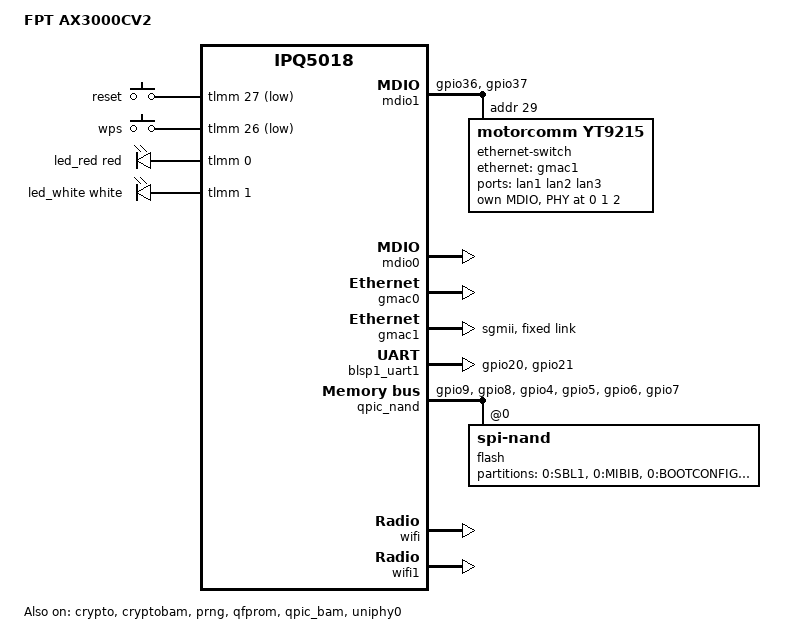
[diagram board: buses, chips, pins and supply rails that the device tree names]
// SPDX-License-Identifier: GPL-2.0-or-later

/dts-v1/;

#include "ipq5018.dtsi"
#include "ipq5018-ess.dtsi"
#include "ipq5018-nss.dtsi"
#include "ipq5018-qcn6122.dtsi"

#include <dt-bindings/gpio/gpio.h>
#include <dt-bindings/input/input.h>
#include <dt-bindings/leds/common.h>

/ {

	model = "FPT AX3000CV2";
	compatible = "fpt,wf810df", "fpt,ax3000cv2", "actiontec,wf810df",
		     "qcom,ipq5018";

	reserved-memory {
		q6_region_qcn6122_1: q6-region-qcn6122-1@4d200000 {
			reg = <0x0 0x4d200000 0x0 0xd00000>;
			no-map;
		};

		m3_dump_qcn6122_1: m3-dump-qcn6122-1@4df00000 {
			reg = <0x0 0x4df00000 0x0 0x100000>;
			no-map;
		};
	};

	aliases {
		serial0 = &blsp1_uart1;
		label-mac-device = &gmac0;

		ethernet0 = &gmac0;
		ethernet1 = &gmac1;

		led-boot = &led_red;
		led-failsafe = &led_red;
		led-running = &led_white;
		led-upgrade = &led_red;
	};

	chosen {
		bootargs-append = " root=/dev/ubiblock0_1 coherent_pool=2M";
		stdout-path = "serial0:115200n8";
	};

	keys {
		compatible = "gpio-keys";
		pinctrl-0 = <&button_pins>;
		pinctrl-names = "default";

		reset {
			label = "reset";
			gpios = <&tlmm 27 GPIO_ACTIVE_LOW>;
			linux,code = <KEY_RESTART>;
			linux,input-type = <EV_KEY>;
			debounce-interval = <60>;
		};

		wps {
			label = "wps";
			gpios = <&tlmm 26 GPIO_ACTIVE_LOW>;
			linux,code = <KEY_WPS_BUTTON>;
			linux,input-type = <EV_KEY>;
			debounce-interval = <60>;
		};
	};

	leds {
		compatible = "gpio-leds";
		pinctrl-0 = <&leds_pins>;
		pinctrl-names = "default";

		led_red: led-red {
			color = <LED_COLOR_ID_RED>;
			function = LED_FUNCTION_POWER;
			gpios = <&tlmm 0 GPIO_ACTIVE_HIGH>;
		};

		led_white: led-white {
			color = <LED_COLOR_ID_WHITE>;
			function = LED_FUNCTION_STATUS;
			gpios = <&tlmm 1 GPIO_ACTIVE_HIGH>;
		};
	};

};

&mdio1 {
	pinctrl-0 = <&mdio1_pins>;
	pinctrl-names = "default";
	status = "okay";

	ethernet-switch@1d {
		compatible = "motorcomm,yt9215";
		reg = <0x1d>;
		yt,extif = <0x0a>;
		motorcomm,skip-hw-reset;

			mdio {
				#address-cells = <1>;
				#size-cells = <0>;

			sw_phy0: phy@0 {
				reg = <0>;
			};

			sw_phy1: phy@1 {
				reg = <1>;
			};

				sw_phy2: phy@2 {
					reg = <2>;
				};

			};

		ports {
			#address-cells = <1>;
			#size-cells = <0>;

			port@0 {
				reg = <0>;
				label = "lan1";
				phy-mode = "internal";
				phy-handle = <&sw_phy0>;
			};

			port@1 {
				reg = <1>;
				label = "lan2";
				phy-mode = "internal";
				phy-handle = <&sw_phy1>;
			};

				port@2 {
					reg = <2>;
					label = "lan3";
					phy-mode = "internal";
					phy-handle = <&sw_phy2>;
				};

			/* Current upstream yt921x support models the CPU link on port 8. */
			port@8 {
				reg = <8>;
				phy-mode = "sgmii";
				ethernet = <&gmac1>;

				fixed-link {
					speed = <1000>;
					full-duplex;
					pause;
					asym-pause;
				};
			};
		};
	};
};

&sleep_clk {
	clock-frequency = <32000>;
};

&xo_board_clk {
	clock-div = <4>;
	clock-mult = <1>;
};



&mdio0 {
	status = "okay";
};

/* WAN is an external RJ45 link: retain the PHY default MDAC/EDAC values. */

&gmac0 {
	status = "okay";
	label = "wan";

	nvmem-cells = <&macaddr_appsblenv_ethaddr 0>;
	nvmem-cell-names = "mac-address";
};

&gmac1 {
	status = "okay";
	phy-mode = "sgmii";
	label = "lan";

	nvmem-cells = <&macaddr_appsblenv_ethaddr 1>;
	nvmem-cell-names = "mac-address";

	fixed-link {
		speed = <1000>;
		full-duplex;
		pause;
		asym-pause;
	};
};

&blsp1_uart1 {
	pinctrl-0 = <&serial_0_pins>;
	pinctrl-names = "default";
	status = "okay";
};

&crypto {
	status = "okay";
};

&cryptobam {
	status = "okay";
};

&prng {
	status = "okay";
};

&qfprom {
	status = "okay";
};

&qpic_bam {
	status = "okay";
};

&qpic_nand {
	pinctrl-0 = <&qpic_pins>;
	pinctrl-names = "default";
	status = "okay";

	flash@0 {
		compatible = "spi-nand";
		reg = <0>;
		#address-cells = <1>;
		#size-cells = <1>;

		nand-ecc-engine = <&qpic_nand>;
		nand-ecc-strength = <8>;
		nand-ecc-step-size = <512>;
		nand-bus-width = <8>;

		partitions {
			compatible = "fixed-partitions";
			#address-cells = <1>;
			#size-cells = <1>;

			partition@0 {
				label = "0:SBL1";
				reg = <0x00000000 0x00080000>;
				read-only;
			};

			partition@80000 {
				label = "0:MIBIB";
				reg = <0x00080000 0x00080000>;
				read-only;
			};

			partition@100000 {
				label = "0:BOOTCONFIG";
				reg = <0x00100000 0x00040000>;
				read-only;
			};

			partition@140000 {
				label = "0:BOOTCONFIG1";
				reg = <0x00140000 0x00040000>;
				read-only;
			};

			partition@180000 {
				label = "0:QSEE";
				reg = <0x00180000 0x00100000>;
				read-only;
			};

			partition@280000 {
				label = "0:QSEE_1";
				reg = <0x00280000 0x00100000>;
				read-only;
			};

			partition@380000 {
				label = "0:DEVCFG";
				reg = <0x00380000 0x00040000>;
				read-only;
			};

			partition@3c0000 {
				label = "0:DEVCFG_1";
				reg = <0x003c0000 0x00040000>;
				read-only;
			};

			partition@400000 {
				label = "0:CDT";
				reg = <0x00400000 0x00040000>;
				read-only;
			};

			partition@440000 {
				label = "0:CDT_1";
				reg = <0x00440000 0x00040000>;
				read-only;
			};

			partition@480000 {
				label = "0:APPSBLENV";
				reg = <0x00480000 0x00080000>;

				nvmem-layout {
					compatible = "u-boot,env";
					env-size = <0x40000>;

					macaddr_appsblenv_ethaddr: ethaddr {
						compatible = "mac-base";
						#nvmem-cell-cells = <1>;
					};
				};
			};

			partition@500000 {
				label = "0:APPSBL";
				reg = <0x00500000 0x00140000>;
				read-only;
			};

			partition@640000 {
				label = "0:APPSBL_1";
				reg = <0x00640000 0x00140000>;
				read-only;
			};

			partition@780000 {
				label = "0:ART";
				reg = <0x00780000 0x00100000>;
				read-only;
			};

			partition@880000 {
				label = "0:TRAINING";
				reg = <0x00880000 0x00080000>;
				read-only;
			};

			partition@900000 {
				label = "APPSBLENV_1";
				reg = <0x00900000 0x00080000>;
				read-only;
			};

			partition@980000 {
				label = "ART_1";
				reg = <0x00980000 0x00100000>;
				read-only;
			};

			partition@a80000 {
				label = "TRAINING_1";
				reg = <0x00a80000 0x00080000>;
				read-only;
			};

			partition@b00000 {
				label = "cert";
				reg = <0x00b00000 0x00100000>;
				read-only;
			};

			partition@c00000 {
				label = "cert_1";
				reg = <0x00c00000 0x00100000>;
				read-only;
			};

			partition@d00000 {
				label = "rootfs";
				reg = <0x00d00000 0x0f300000>;
			};
		};
	};
};

&tlmm {
	mdio1_pins: mdio-state {
		mdc-pins {
			pins = "gpio36";
			function = "mdc";
			drive-strength = <8>;
			bias-pull-up;
		};

		mdio-pins {
			pins = "gpio37";
			function = "mdio";
			drive-strength = <8>;
			bias-pull-up;
		};
	};

	leds_pins: leds-pins {
		pins = "gpio0", "gpio1";
		function = "gpio";
		drive-strength = <8>;
		bias-pull-down;
	};

	button_pins: button-pins {
		pins = "gpio27", "gpio26";
		function = "gpio";
		drive-strength = <8>;
		bias-pull-up;
	};

	qpic_pins: qpic-state {
		clock-pins {
			pins = "gpio9";
			function = "qspi_clk";
			drive-strength = <8>;
			bias-disable;
		};

		cs-pins {
			pins = "gpio8";
			function = "qspi_cs";
			drive-strength = <8>;
			bias-disable;
		};

		data-pins {
			pins = "gpio4", "gpio5", "gpio6", "gpio7";
			function = "qspi_data";
			drive-strength = <8>;
			bias-disable;
		};
	};

	serial_0_pins: uart0-state {
		pins = "gpio20", "gpio21";
		function = "blsp0_uart0";
		drive-strength = <8>;
		bias-disable;
	};
};

&q6v5_wcss {
	boot-args = <0x2 4 2 18 0 0>;
};

&wifi {
	status = "okay";

	qcom,rproc = <&q6v5_wcss>;
	qcom,board_id = <35>;
	qcom,ath11k-fw-memory-mode = <2>; /* wifili needs mode 2 on the QCN6122 (reported working by LS3434) */
};

&wifi1 {
	status = "okay";

	qcom,rproc = <&q6v5_wcss>;
	qcom,board_id = <96>;
	qcom,ath11k-fw-memory-mode = <2>; /* wifili needs mode 2 on the QCN6122 (reported working by LS3434) */

	memory-region = <&q6_region_qcn6122_1>, <&q6_region_ipq5018>, <&m3_dump_qcn6122_1>;
	memory-region-names = "q6-region", "m3-region", "m3-dump";
};

/* Preserve the WAN full-cable DAC fix; do not add a short-cable preset. */
&ge_phy {
	/delete-property/ qcom,dac-preset-short-cable;
};

&uniphy0 {
	status = "okay";
	assigned-clocks = <&uniphy0 UNIPHY_CLK_REF>;
	assigned-clock-rates = <UNIPHY_REFCLK_25MHZ>;
};
